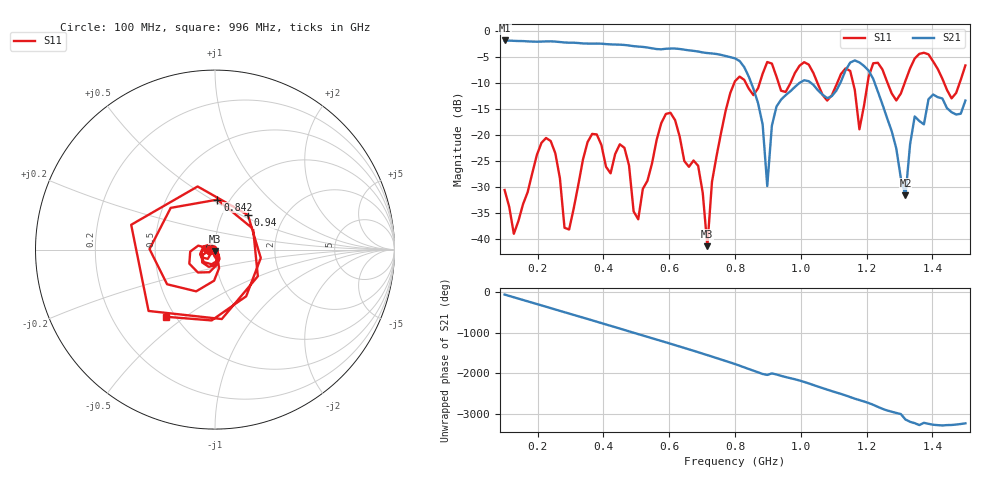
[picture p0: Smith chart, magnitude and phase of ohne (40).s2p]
! NanoVNA-App
! Date: 2025-09-25 14:21:06
! Start: 100MHz Stop: 1,5GHz Points: 101
! S-Parameter data: F S11 S21 S12 S22
# Hz S RI R 50
!  Frequency  S11_Real  S11_Imag  S21_Real  S21_Imag  S12_Real  S12_Imag  S22_Real  S22_Imag
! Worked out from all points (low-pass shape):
!   101 points, 100 MHz to 1.5 GHz, reference 50 ohm
!   highest |S21| = -1.79 dB at 100 MHz (marker M1); lowest = -31.7 dB at 1.318 GHz (marker M2)
!   |S21| within 3 dB of the highest: start of sweep to 771.5 MHz
!   lowest |S11| = -41.5 dB at 716 MHz (marker M3), VSWR 1.02, Z = 49.9 - j0.831 ohm
!   |S11| at or under -10 dB: start of sweep to 797.8 MHz; 833 MHz to 875.1 MHz (42.09 MHz wide, 4.93 % of centre); 1.051 GHz to 1.111 GHz (59.95 MHz wide, 5.55 % of centre) (the widest 3 of 7)
!   S12 and S22 are empty: the file has one direction only
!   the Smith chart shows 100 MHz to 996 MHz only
!   S11 on the Smith chart (normalised r, x): 100 MHz: 0.94, -0.01; 842 MHz: 0.88, +0.53; 940 MHz: 1.32, +0.55; 996 MHz: 0.44, -0.42
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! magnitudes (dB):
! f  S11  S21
! 100 MHz  -30.6  -1.8
! 128 MHz  -39.1  -1.9
! 226 MHz  -20.6  -2.0
! 296 MHz  -38.3  -2.2
! 338 MHz  -24.8  -2.4
! 464 MHz  -22.5  -2.7
! 506 MHz  -36.3  -3.0
! 576 MHz  -17.7  -3.5
! 688 MHz  -26.0  -3.9
! 716 MHz  -41.5  -4.2
! 800 MHz  -9.6  -5.2
! 842 MHz  -11.1  -8.8
! 898 MHz  -6.0  -29.9
! 940 MHz  -11.5  -13.2
! 996 MHz  -6.7  -10.0
! 1.038 GHz  -8.0  -10.3
! 1.178 GHz  -18.9  -6.0
! 1.22 GHz  -6.2  -9.2
! 1.276 GHz  -12.0  -19.3
! 1.318 GHz  -9.6  -31.7
! 1.346 GHz  -5.3  -16.4
! 1.5 GHz  -6.6  -13.4
